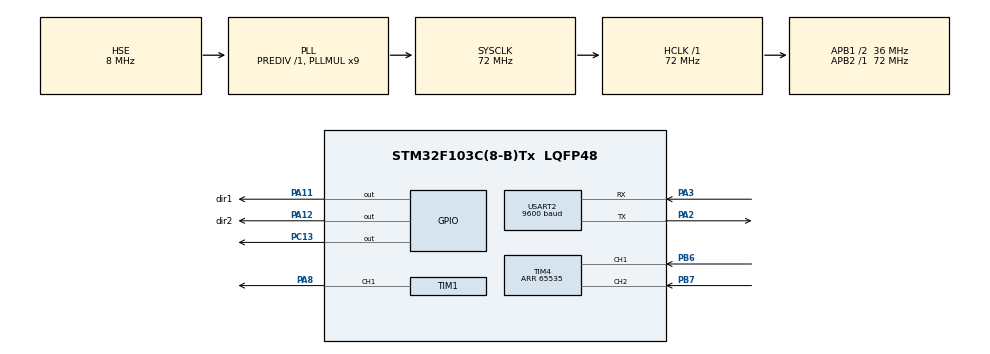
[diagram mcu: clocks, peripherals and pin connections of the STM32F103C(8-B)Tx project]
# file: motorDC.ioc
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Mcu.Family=STM32F1
Mcu.Name=STM32F103C(8-B)Tx
Mcu.Package=LQFP48
NVIC.PriorityGroup=NVIC_PRIORITYGROUP_4
NVIC.TIM3_IRQn=true\:0\:0\:false\:false\:true\:true\:true
NVIC.USART2_IRQn=true\:0\:0\:false\:false\:true\:true\:true
PA11.GPIO_Label=dir1
PA11.Signal=GPIO_Output
PA12.GPIO_Label=dir2
PA12.Signal=GPIO_Output
PA13.Mode=Serial_Wire
PA13.Signal=SYS_JTMS-SWDIO
PA14.Mode=Serial_Wire
PA14.Signal=SYS_JTCK-SWCLK
PA2.Mode=Asynchronous
PA2.Signal=USART2_TX
PA3.Mode=Asynchronous
PA3.Signal=USART2_RX
PA8.Signal=S_TIM1_CH1
PB6.Signal=S_TIM4_CH1
PB7.Signal=S_TIM4_CH2
PC13-TAMPER-RTC.PinState=GPIO_PIN_SET
PC13-TAMPER-RTC.Signal=GPIO_Output
PC14-OSC32_IN.Mode=LSE-External-Oscillator
PC14-OSC32_IN.Signal=RCC_OSC32_IN
PC15-OSC32_OUT.Mode=LSE-External-Oscillator
PC15-OSC32_OUT.Signal=RCC_OSC32_OUT
PD0-OSC_IN.Mode=HSE-External-Oscillator
PD0-OSC_IN.Signal=RCC_OSC_IN
PD1-OSC_OUT.Mode=HSE-External-Oscillator
PD1-OSC_OUT.Signal=RCC_OSC_OUT
ProjectManager.HeapSize=0x200
ProjectManager.StackSize=0x400
ProjectManager.TargetToolchain=MDK-ARM V5
RCC.AHBFreq_Value=72000000
RCC.APB1CLKDivider=RCC_HCLK_DIV2
RCC.APB1Freq_Value=36000000
RCC.APB1TimFreq_Value=72000000
RCC.APB2Freq_Value=72000000
RCC.APB2TimFreq_Value=72000000
RCC.HCLKFreq_Value=72000000
RCC.PLLMUL=RCC_PLL_MUL9
RCC.PLLSourceVirtual=RCC_PLLSOURCE_HSE
RCC.SYSCLKFreq_VALUE=72000000
RCC.SYSCLKSource=RCC_SYSCLKSOURCE_PLLCLK
RCC.USBFreq_Value=72000000
SH.S_TIM1_CH1.0=TIM1_CH1,PWM Generation1 CH1
SH.S_TIM4_CH1.0=TIM4_CH1,Encoder_Interface
SH.S_TIM4_CH2.0=TIM4_CH2,Encoder_Interface
TIM1.AutoReloadPreload=TIM_AUTORELOAD_PRELOAD_ENABLE
TIM1.Channel-PWM\ Generation1\ CH1=TIM_CHANNEL_1
TIM1.Period=7199
TIM1.Prescaler=0
TIM1.Pulse-PWM\ Generation1\ CH1=5000
TIM3.AutoReloadPreload=TIM_AUTORELOAD_PRELOAD_ENABLE
TIM3.Channel-Output\ Compare1\ No\ Output=TIM_CHANNEL_1
TIM3.Period=9999
TIM3.Prescaler=71
TIM4.AutoReloadPreload=TIM_AUTORELOAD_PRELOAD_ENABLE
TIM4.EncoderMode=TIM_ENCODERMODE_TI12
TIM4.Period=65535
USART2.BaudRate=9600
USART2.VirtualMode=VM_ASYNC
USART2.WordLength=WORDLENGTH_8B
VP_TIM1_VS_ClockSourceINT.Mode=Internal
VP_TIM3_VS_no_output1.Mode=Output Compare1 No Output
board=custom

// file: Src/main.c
/* USER CODE BEGIN Header */
/**
  ******************************************************************************
  * @file           : main.c
  * @brief          : Main program body
  ******************************************************************************
  * @attention
  *
  * <h2><center>&copy; Copyright (c) 2020 STMicroelectronics.
  * All rights reserved.</center></h2>
  *
  * This software component is licensed by ST under BSD 3-Clause license,
  * the "License"; You may not use this file except in compliance with the
  * License. You may obtain a copy of the License at:
  *                        opensource.org/licenses/BSD-3-Clause
  *
  ******************************************************************************
  */
/* USER CODE END Header */

#include "main.h"

/* USER CODE BEGIN Includes */
#include "string.h"
#include "stdio.h"
#include "stdlib.h"
/* USER CODE END Includes */

TIM_HandleTypeDef htim1;
TIM_HandleTypeDef htim3;
TIM_HandleTypeDef htim4;

UART_HandleTypeDef huart2;

/* USER CODE BEGIN PV */
void Controller_V (const float sp);
void Controller_P (const float sp);
void Controller_tr(void);
void transmit_number();

enum State{VelocityC, PositionC, TrC, StopC};
enum State state = StopC;
float velocity = 0;
int32_t LastEncCnt = 32768;
float rounds = 0;
float x1 = 500;
float errv = 0;
float errp = 0;
float sp = 5000;
float velocity_cnt = 10;
uint8_t Rdata[5];
int firsttimeflag = 1;

struct pidStruct
{
	float kp;
	float kd;
	float ki;
	float errorLast;
	float sum;
	float maxSum;
	float minSum;
	float maxD;
	float outputMax;
	float outputMin;
};
struct pidStruct pidv;
struct pidStruct pidp;
struct pidStruct pidvp;
struct pidStruct pidtr;

/* USER CODE END PV */

void SystemClock_Config(void);
static void MX_GPIO_Init(void);
static void MX_TIM3_Init(void);
static void MX_TIM4_Init(void);
static void MX_TIM1_Init(void);
static void MX_USART2_UART_Init(void);

int main(void)
{
  /* USER CODE BEGIN 1 */

	// Controller V
	pidv.kp = 1.;
	pidv.ki = 1;
	pidv.outputMax = 7200.;
	pidv.outputMin = 3600;
	pidv.maxSum = 7200.;
  pidv.minSum = 3600;

	// Controller P
	pidp.kp = 1000;
	pidp.ki = 0;
	pidp.outputMax = 3600.;
	pidp.outputMin = -3600.;
	pidp.maxSum = 3600.;
	pidp.minSum = -3600;

	pidvp.kp = 1.;
	pidvp.ki = 1;
	pidvp.outputMax = 3600.;
	pidvp.outputMin = -3600;
	pidvp.maxSum = 3600.;
	pidvp.minSum = -3600.;
	// Controller tr
	pidtr.kp = 1.;
	pidtr.kd = 5.;
	pidtr.ki = .5;
	pidtr.outputMax = 2880.;
	pidtr.outputMin = -2880.;
	pidtr.maxSum = 2880.;
	pidtr.minSum = -2880.;
  /* USER CODE END 1 */

  /* MCU Configuration--------------------------------------------------------*/

  /* Reset of all peripherals, Initializes the Flash interface and the Systick. */
  HAL_Init();

  /* Configure the system clock */
  SystemClock_Config();

  /* Initialize all configured peripherals */
  MX_GPIO_Init();
  MX_TIM3_Init();
  MX_TIM4_Init();
  MX_TIM1_Init();
  MX_USART2_UART_Init();
  /* USER CODE BEGIN 2 */
	HAL_TIM_Base_Start_IT(&htim3);
	HAL_TIM_Base_Start(&htim3);
	HAL_TIM_Base_Start(&htim4);
	HAL_TIM_Base_Start(&htim1);
	HAL_TIM_PWM_Start(&htim1, TIM_CHANNEL_1);
	HAL_GPIO_WritePin(GPIOA, GPIO_PIN_11, GPIO_PIN_SET);
	HAL_GPIO_WritePin(GPIOA, GPIO_PIN_12, GPIO_PIN_RESET);
	HAL_UART_Receive_IT(&huart2, Rdata, 5);
	TIM4->CNT = 32768; // center range

  /* USER CODE END 2 */

  /* Infinite loop */
  /* USER CODE BEGIN WHILE */
  while (1)
  {
		//__HAL_TIM_SET_COMPARE(&htim1, TIM_CHANNEL_1, 7200);
		//HAL_Delay(1);

		//Controller_P(sp);
		//Controller_tr();

		//transmit_number();
		//HAL_Delay(1000);
    /* USER CODE END WHILE */

    /* USER CODE BEGIN 3 */
		transmit_number();
		HAL_Delay(10);
  }

}

//void sendData(float v, uint16_t

void HAL_TIM_PeriodElapsedCallback(TIM_HandleTypeDef *htim)
{
  if (htim == &htim3)
	{
		int32_t cnt = TIM4->CNT;
		if (LastEncCnt > 60000 & cnt < 5000)
				LastEncCnt -= 65536;
		else if (cnt > 60000 & LastEncCnt < 5000)
			cnt -= 65536;
		velocity = (cnt - LastEncCnt) * 6000 / 128.; //rpm
		LastEncCnt = TIM4->CNT;
		rounds = (LastEncCnt - 32768) / 128.;
		// Controller state
		if (state == StopC)
		{
			firsttimeflag = 1;
			HAL_GPIO_WritePin(GPIOA, GPIO_PIN_11, GPIO_PIN_RESET);
			HAL_GPIO_WritePin(GPIOA, GPIO_PIN_12, GPIO_PIN_RESET);
			__HAL_TIM_SET_COMPARE(&htim1, TIM_CHANNEL_1, 0);
		}
		else if(state == VelocityC)
		{
			firsttimeflag = 1;
			HAL_GPIO_WritePin(GPIOA, GPIO_PIN_11, GPIO_PIN_SET);
			HAL_GPIO_WritePin(GPIOA, GPIO_PIN_12, GPIO_PIN_RESET);
			Controller_V(sp);
		}
		else if(state == PositionC)
		{
			firsttimeflag = 1;
			Controller_P(sp);
		}
		else if(state == TrC)
		{
			if(firsttimeflag)
			{
				firsttimeflag = 0;
				sp = 3000;
				HAL_GPIO_WritePin(GPIOA, GPIO_PIN_11, GPIO_PIN_SET);
				HAL_GPIO_WritePin(GPIOA, GPIO_PIN_12, GPIO_PIN_RESET);
			}
			Controller_tr();
		}
			//transmit_number();
	}
}

void transmit_number() {
	char str_v[16];
	sprintf(str_v,"%0.2f&%0.2f\r\n",velocity,rounds);
	HAL_UART_Transmit(&huart2, (uint8_t*)str_v, strlen((char*)str_v), 100);
//	char str_v[16];
//	sprintf(str_v,"%0.2f\r\n",velocity);
//	HAL_UART_Transmit(&huart2, (uint8_t*)str_v, strlen((char*)str_v), 100);
}

void HAL_UART_RxCpltCallback(UART_HandleTypeDef *huart)
{
  if (huart == &huart2)
	{
		if (Rdata[4] == 'v')
			state = VelocityC;
		else if(Rdata[4] == 'p')
			state = PositionC;
		else if(Rdata[4] == 't')
			state = TrC;
		else
			state = StopC;
		uint8_t Rdatatmp[4];
		for(int i = 0; i < 4;i++)
			Rdatatmp[i] = Rdata[i];
		sp = atof(Rdatatmp);
		if (state == PositionC)
			sp = sp/100.;
//		Rdata[4] = '\0';
//		sp = atof(Rdata);
//		if (state == PositionC)
//			sp = sp/100.;
		//Rdata[4] = '0';
	}

//	HAL_UART_Receive_IT(&huart2, Rdata, 5);
	//HAL_UART_Receive_IT(&huart2, Rdata, 5);

}

float PID(float error, struct pidStruct *pid)
{
  pid->sum += pid->ki * error;
//  if (pid->sum * error < 0) // not in the simulink
//    pid->sum = 0;
  if (pid->sum > pid->maxSum)
    pid->sum = pid->maxSum;
  else if (pid->sum < pid->minSum)
    pid->sum = pid->minSum;
	float dItem = pid->kd * (error - pid->errorLast);
	if (dItem > pid->maxD)
    dItem = pid->maxD;
  else if (dItem < -pid->maxD)
    dItem = -pid->maxD;
  float output = pid->sum + pid->kp * error + dItem;
  if (output > pid->outputMax)
    output = pid->outputMax;
  else if (output < pid->outputMin)
    output = pid->outputMin;
  pid->errorLast = error;
	return output;
}

void Controller_V (const float sp)
{
	errv = sp - velocity;
	x1 = PID(errv, &pidv);
	__HAL_TIM_SET_COMPARE(&htim1, TIM_CHANNEL_1, x1 );
}

void Controller_P (const float sp)
{
	errp = sp - rounds;
	int velocity_sp = PID(errp, &pidp);
	errv = velocity_sp - velocity;
	x1 = PID(errv, &pidvp);
	if (x1 > 0)
	{
		HAL_GPIO_WritePin(GPIOA, GPIO_PIN_11, GPIO_PIN_SET);
		HAL_GPIO_WritePin(GPIOA, GPIO_PIN_12, GPIO_PIN_RESET);
	}
	else if(x1 < 0)
	{
		HAL_GPIO_WritePin(GPIOA, GPIO_PIN_11, GPIO_PIN_RESET);
		HAL_GPIO_WritePin(GPIOA, GPIO_PIN_12, GPIO_PIN_SET);
		x1 = -x1;
	}
	else
	{
		HAL_GPIO_WritePin(GPIOA, GPIO_PIN_11, GPIO_PIN_RESET);
		HAL_GPIO_WritePin(GPIOA, GPIO_PIN_12, GPIO_PIN_RESET);
	}

	__HAL_TIM_SET_COMPARE(&htim1, TIM_CHANNEL_1, x1 + 3600);
}

void Controller_tr(void)
{
	if (sp > 5000)
		velocity_cnt = -10;
	else if ( sp < -5000)
		velocity_cnt = 10;
	sp += velocity_cnt;
	errv = sp - velocity;
	x1 = PID(errv, &pidtr);
	if (x1 > 0)
	{
		HAL_GPIO_WritePin(GPIOA, GPIO_PIN_11, GPIO_PIN_SET);
		HAL_GPIO_WritePin(GPIOA, GPIO_PIN_12, GPIO_PIN_RESET);
	}
	else if(x1 < 0)
	{
		HAL_GPIO_WritePin(GPIOA, GPIO_PIN_11, GPIO_PIN_RESET);
		HAL_GPIO_WritePin(GPIOA, GPIO_PIN_12, GPIO_PIN_SET);
		x1 = -x1;
	}
	else
	{
		HAL_GPIO_WritePin(GPIOA, GPIO_PIN_11, GPIO_PIN_RESET);
		HAL_GPIO_WritePin(GPIOA, GPIO_PIN_12, GPIO_PIN_RESET);
	}

	__HAL_TIM_SET_COMPARE(&htim1, TIM_CHANNEL_1, x1 + 4320);
}

  /* USER CODE END 3 */

void SystemClock_Config(void)
{
  RCC_OscInitTypeDef RCC_OscInitStruct = {0};
  RCC_ClkInitTypeDef RCC_ClkInitStruct = {0};

  /** Initializes the CPU, AHB and APB busses clocks
  */
  RCC_OscInitStruct.OscillatorType = RCC_OSCILLATORTYPE_HSE;
  RCC_OscInitStruct.HSEState = RCC_HSE_ON;
  RCC_OscInitStruct.HSEPredivValue = RCC_HSE_PREDIV_DIV1;
  RCC_OscInitStruct.HSIState = RCC_HSI_ON;
  RCC_OscInitStruct.PLL.PLLState = RCC_PLL_ON;
  RCC_OscInitStruct.PLL.PLLSource = RCC_PLLSOURCE_HSE;
  RCC_OscInitStruct.PLL.PLLMUL = RCC_PLL_MUL9;
  if (HAL_RCC_OscConfig(&RCC_OscInitStruct) != HAL_OK)
  {
    Error_Handler();
  }
  /** Initializes the CPU, AHB and APB busses clocks
  */
  RCC_ClkInitStruct.ClockType = RCC_CLOCKTYPE_HCLK|RCC_CLOCKTYPE_SYSCLK
                              |RCC_CLOCKTYPE_PCLK1|RCC_CLOCKTYPE_PCLK2;
  RCC_ClkInitStruct.SYSCLKSource = RCC_SYSCLKSOURCE_PLLCLK;
  RCC_ClkInitStruct.AHBCLKDivider = RCC_SYSCLK_DIV1;
  RCC_ClkInitStruct.APB1CLKDivider = RCC_HCLK_DIV2;
  RCC_ClkInitStruct.APB2CLKDivider = RCC_HCLK_DIV1;

  if (HAL_RCC_ClockConfig(&RCC_ClkInitStruct, FLASH_LATENCY_2) != HAL_OK)
  {
    Error_Handler();
  }
}

static void MX_TIM1_Init(void)
{

  TIM_ClockConfigTypeDef sClockSourceConfig = {0};
  TIM_MasterConfigTypeDef sMasterConfig = {0};
  TIM_OC_InitTypeDef sConfigOC = {0};
  TIM_BreakDeadTimeConfigTypeDef sBreakDeadTimeConfig = {0};

  htim1.Instance = TIM1;
  htim1.Init.Prescaler = 0;
  htim1.Init.CounterMode = TIM_COUNTERMODE_UP;
  htim1.Init.Period = 7199;
  htim1.Init.ClockDivision = TIM_CLOCKDIVISION_DIV1;
  htim1.Init.RepetitionCounter = 0;
  htim1.Init.AutoReloadPreload = TIM_AUTORELOAD_PRELOAD_ENABLE;
  if (HAL_TIM_Base_Init(&htim1) != HAL_OK)
  {
    Error_Handler();
  }
  sClockSourceConfig.ClockSource = TIM_CLOCKSOURCE_INTERNAL;
  if (HAL_TIM_ConfigClockSource(&htim1, &sClockSourceConfig) != HAL_OK)
  {
    Error_Handler();
  }
  if (HAL_TIM_PWM_Init(&htim1) != HAL_OK)
  {
    Error_Handler();
  }
  sMasterConfig.MasterOutputTrigger = TIM_TRGO_RESET;
  sMasterConfig.MasterSlaveMode = TIM_MASTERSLAVEMODE_DISABLE;
  if (HAL_TIMEx_MasterConfigSynchronization(&htim1, &sMasterConfig) != HAL_OK)
  {
    Error_Handler();
  }
  sConfigOC.OCMode = TIM_OCMODE_PWM1;
  sConfigOC.Pulse = 5000;
  sConfigOC.OCPolarity = TIM_OCPOLARITY_HIGH;
  sConfigOC.OCNPolarity = TIM_OCNPOLARITY_HIGH;
  sConfigOC.OCFastMode = TIM_OCFAST_DISABLE;
  sConfigOC.OCIdleState = TIM_OCIDLESTATE_RESET;
  sConfigOC.OCNIdleState = TIM_OCNIDLESTATE_RESET;
  if (HAL_TIM_PWM_ConfigChannel(&htim1, &sConfigOC, TIM_CHANNEL_1) != HAL_OK)
  {
    Error_Handler();
  }
  sBreakDeadTimeConfig.OffStateRunMode = TIM_OSSR_DISABLE;
  sBreakDeadTimeConfig.OffStateIDLEMode = TIM_OSSI_DISABLE;
  sBreakDeadTimeConfig.LockLevel = TIM_LOCKLEVEL_OFF;
  sBreakDeadTimeConfig.DeadTime = 0;
  sBreakDeadTimeConfig.BreakState = TIM_BREAK_DISABLE;
  sBreakDeadTimeConfig.BreakPolarity = TIM_BREAKPOLARITY_HIGH;
  sBreakDeadTimeConfig.AutomaticOutput = TIM_AUTOMATICOUTPUT_DISABLE;
  if (HAL_TIMEx_ConfigBreakDeadTime(&htim1, &sBreakDeadTimeConfig) != HAL_OK)
  {
    Error_Handler();
  }
  HAL_TIM_MspPostInit(&htim1);

}

static void MX_TIM3_Init(void)
{

  TIM_MasterConfigTypeDef sMasterConfig = {0};
  TIM_OC_InitTypeDef sConfigOC = {0};

  htim3.Instance = TIM3;
  htim3.Init.Prescaler = 71;
  htim3.Init.CounterMode = TIM_COUNTERMODE_UP;
  htim3.Init.Period = 9999;
  htim3.Init.ClockDivision = TIM_CLOCKDIVISION_DIV1;
  htim3.Init.AutoReloadPreload = TIM_AUTORELOAD_PRELOAD_ENABLE;
  if (HAL_TIM_OC_Init(&htim3) != HAL_OK)
  {
    Error_Handler();
  }
  sMasterConfig.MasterOutputTrigger = TIM_TRGO_RESET;
  sMasterConfig.MasterSlaveMode = TIM_MASTERSLAVEMODE_DISABLE;
  if (HAL_TIMEx_MasterConfigSynchronization(&htim3, &sMasterConfig) != HAL_OK)
  {
    Error_Handler();
  }
  sConfigOC.OCMode = TIM_OCMODE_TIMING;
  sConfigOC.Pulse = 0;
  sConfigOC.OCPolarity = TIM_OCPOLARITY_HIGH;
  sConfigOC.OCFastMode = TIM_OCFAST_DISABLE;
  if (HAL_TIM_OC_ConfigChannel(&htim3, &sConfigOC, TIM_CHANNEL_1) != HAL_OK)
  {
    Error_Handler();
  }

}

static void MX_TIM4_Init(void)
{

  TIM_Encoder_InitTypeDef sConfig = {0};
  TIM_MasterConfigTypeDef sMasterConfig = {0};

  htim4.Instance = TIM4;
  htim4.Init.Prescaler = 0;
  htim4.Init.CounterMode = TIM_COUNTERMODE_UP;
  htim4.Init.Period = 65535;
  htim4.Init.ClockDivision = TIM_CLOCKDIVISION_DIV1;
  htim4.Init.AutoReloadPreload = TIM_AUTORELOAD_PRELOAD_ENABLE;
  sConfig.EncoderMode = TIM_ENCODERMODE_TI12;
  sConfig.IC1Polarity = TIM_ICPOLARITY_RISING;
  sConfig.IC1Selection = TIM_ICSELECTION_DIRECTTI;
  sConfig.IC1Prescaler = TIM_ICPSC_DIV1;
  sConfig.IC1Filter = 0;
  sConfig.IC2Polarity = TIM_ICPOLARITY_RISING;
  sConfig.IC2Selection = TIM_ICSELECTION_DIRECTTI;
  sConfig.IC2Prescaler = TIM_ICPSC_DIV1;
  sConfig.IC2Filter = 0;
  if (HAL_TIM_Encoder_Init(&htim4, &sConfig) != HAL_OK)
  {
    Error_Handler();
  }
  sMasterConfig.MasterOutputTrigger = TIM_TRGO_RESET;
  sMasterConfig.MasterSlaveMode = TIM_MASTERSLAVEMODE_DISABLE;
  if (HAL_TIMEx_MasterConfigSynchronization(&htim4, &sMasterConfig) != HAL_OK)
  {
    Error_Handler();
  }

}

static void MX_USART2_UART_Init(void)
{

  huart2.Instance = USART2;
  huart2.Init.BaudRate = 9600;
  huart2.Init.WordLength = UART_WORDLENGTH_8B;
  huart2.Init.StopBits = UART_STOPBITS_1;
  huart2.Init.Parity = UART_PARITY_NONE;
  huart2.Init.Mode = UART_MODE_TX_RX;
  huart2.Init.HwFlowCtl = UART_HWCONTROL_NONE;
  huart2.Init.OverSampling = UART_OVERSAMPLING_16;
  if (HAL_UART_Init(&huart2) != HAL_OK)
  {
    Error_Handler();
  }

}

static void MX_GPIO_Init(void)
{
  GPIO_InitTypeDef GPIO_InitStruct = {0};

  /* GPIO Ports Clock Enable */
  __HAL_RCC_GPIOC_CLK_ENABLE();
  __HAL_RCC_GPIOD_CLK_ENABLE();
  __HAL_RCC_GPIOA_CLK_ENABLE();
  __HAL_RCC_GPIOB_CLK_ENABLE();

  /*Configure GPIO pin Output Level */
  HAL_GPIO_WritePin(GPIOC, GPIO_PIN_13, GPIO_PIN_SET);

  /*Configure GPIO pin Output Level */
  HAL_GPIO_WritePin(GPIOA, dir1_Pin|dir2_Pin, GPIO_PIN_RESET);

  /*Configure GPIO pin : PC13 */
  GPIO_InitStruct.Pin = GPIO_PIN_13;
  GPIO_InitStruct.Mode = GPIO_MODE_OUTPUT_PP;
  GPIO_InitStruct.Pull = GPIO_NOPULL;
  GPIO_InitStruct.Speed = GPIO_SPEED_FREQ_LOW;
  HAL_GPIO_Init(GPIOC, &GPIO_InitStruct);

  /*Configure GPIO pins : dir1_Pin dir2_Pin */
  GPIO_InitStruct.Pin = dir1_Pin|dir2_Pin;
  GPIO_InitStruct.Mode = GPIO_MODE_OUTPUT_PP;
  GPIO_InitStruct.Pull = GPIO_NOPULL;
  GPIO_InitStruct.Speed = GPIO_SPEED_FREQ_LOW;
  HAL_GPIO_Init(GPIOA, &GPIO_InitStruct);

}

void Error_Handler(void)
{
}

/************************ (C) COPYRIGHT STMicroelectronics *****END OF FILE****/
